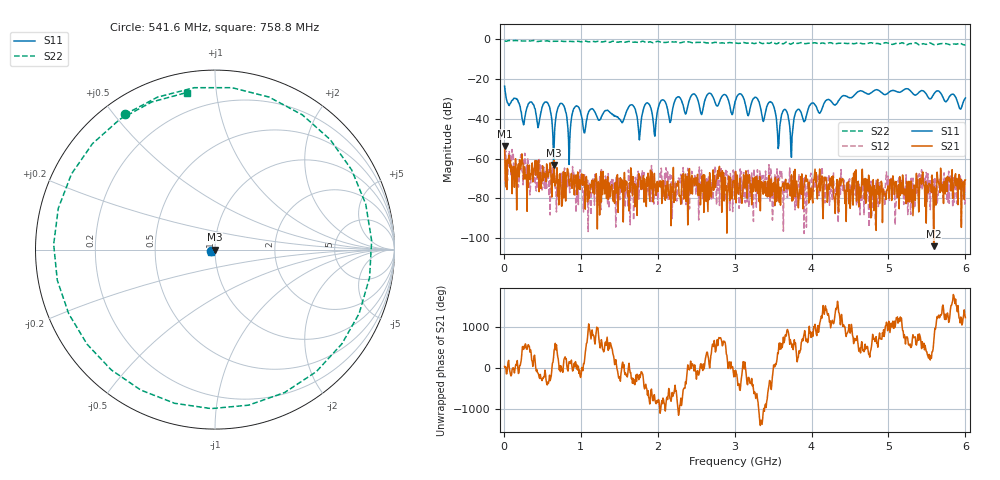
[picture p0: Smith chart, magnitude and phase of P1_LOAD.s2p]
!Keysight Technologies,N5245B,MY52501319,Z.13.01.242
!Date: Monday, February 16, 2026 14:43:14
!Correction: S11(Off)
!S21(Off)
!S12(Off)
!S22(Off)
!S2P File: Measurements: S11, S21, S12, S22:
# Hz S  RI  R 50
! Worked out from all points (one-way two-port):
!   801 points, 10 MHz to 6 GHz, reference 50 ohm
!   highest |S21| = -53.72 dB at 10 MHz (marker M1); lowest = -104.1 dB at 5.588 GHz (marker M2)
!   lowest |S11| = -63.3 dB at 646.4 MHz (marker M3), VSWR 1.00, Z = 50 + j0.0488 ohm
!   |S11| at or under -10 dB: start of sweep to end of sweep
!   |S22| runs from -2.9 to -0.6 dB; largest |S21 - S12| = 0.0019
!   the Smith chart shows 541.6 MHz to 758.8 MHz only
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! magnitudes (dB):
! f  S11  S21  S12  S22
! 10 MHz  -23.7  -53.7  -58.4  -0.9
! 249.6 MHz  -42.0  -62.7  -73.2  -0.9
! 564.1 MHz  -31.8  -66.8  -63.3  -0.8
! 646.4 MHz  -63.3  -71.9  -66.2  -1.1
! 736.3 MHz  -32.4  -71.1  -70.8  -0.9
! 848.6 MHz  -63.0  -73.2  -69.9  -1.1
! 931 MHz  -33.8  -72.4  -77.1  -1.2
! 1.013 GHz  -39.3  -67.7  -68.9  -1.3
! 1.665 GHz  -33.0  -73.5  -77.4  -1.4
! 1.762 GHz  -50.6  -68.5  -68.5  -1.6
! 1.852 GHz  -32.2  -84.2  -78.9  -1.7
! 1.957 GHz  -47.9  -67.5  -72.7  -1.7
! 2.009 GHz  -34.3  -72.7  -71.4  -1.1
! 3.005 GHz  -31.6  -80.5  -72.3  -1.8
! 3.469 GHz  -31.6  -79.0  -64.8  -1.8
! 3.567 GHz  -55.0  -70.2  -81.2  -2.0
! 3.656 GHz  -35.3  -72.1  -71.2  -1.7
! 3.739 GHz  -59.4  -68.2  -72.1  -2.4
! 4.008 GHz  -32.1  -80.1  -79.3  -2.0
! 5.004 GHz  -26.7  -80.0  -75.4  -2.1
! 5.588 GHz  -27.7  -104.1  -70.7  -2.7
! 6 GHz  -29.6  -70.8  -80.0  -2.8
